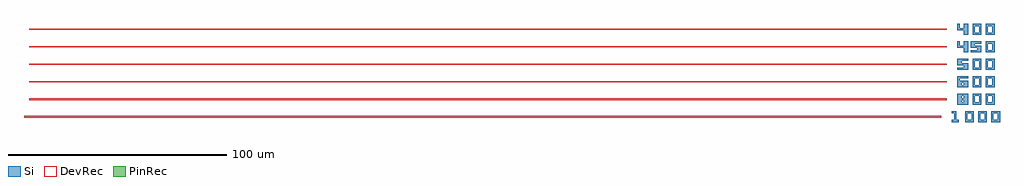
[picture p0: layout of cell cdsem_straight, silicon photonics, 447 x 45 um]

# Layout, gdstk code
import gdstk
lib = gdstk.Library(unit=1e-6, precision=1e-09)
def R(c, l, rs):  # rectangles x0, y0, x1, y1
    for r in rs: c.add(gdstk.rectangle(r[:2], r[2:], *l))
def A(c, l, x, y, w, h, nx, ny, dx, dy):  # array of equal rectangles
    R(c, l, [(x+i*dx, y+j*dy, x+i*dx+w, y+j*dy+h) for i in range(nx) for j in range(ny)])
Si = (1, 0)
PinRec = (1, 10)
DevRec = (68, 0)

text_rectangular_size1_t = lib.new_cell('text_rectangular_size1_text400')
A(text_rectangular_size1_t, Si, 7, 0, 1, 1, 4, 2, 1, 4)
A(text_rectangular_size1_t, Si, 13, 0, 1, 1, 4, 2, 1, 4)
A(text_rectangular_size1_t, Si, 4, 1, 1, 1, 5, 2, 3, 2)
A(text_rectangular_size1_t, Si, 0, 2, 1, 1, 5, 1, 1, 0)
A(text_rectangular_size1_t, Si, 7, 2, 1, 1, 4, 1, 3, 0)
R(text_rectangular_size1_t, Si, [(3,0,4,1), (4,0,5,1), (3,1,4,2), (0,3,1,4), (3,3,4,4), (0,4,1,5), (3,4,4,5), (4,4,5,5)])

unnamed_57ab81e8 = lib.new_cell('Unnamed_57ab81e8')
R(unnamed_57ab81e8, Si, [(0,-0.2,420,0.2)])
R(unnamed_57ab81e8, DevRec, [(0,-0.2,420,0.2)])
unnamed_57ab81e8.add(gdstk.FlexPath([(0.001,0),(-0.001,0)], 0.4, ends="flush", simple_path=True, layer=1, datatype=10))  # PinRec
unnamed_57ab81e8.add(gdstk.FlexPath([(419.999,0),(420.001,0)], 0.4, ends="flush", simple_path=True, layer=1, datatype=10))  # PinRec
unnamed_57ab81e8.add(gdstk.Reference(text_rectangular_size1_t, (425.001,-2.5)))
unnamed_57ab81e8.add(gdstk.Label('o1', (0,0), layer=1, texttype=10))
unnamed_57ab81e8.add(gdstk.Label('o2', (420,0), layer=1, texttype=10))

c_text_rectangular_size1_t = lib.new_cell('text_rectangular_size1_text450')
A(c_text_rectangular_size1_t, Si, 6, 0, 1, 1, 5, 3, 1, 2)
A(c_text_rectangular_size1_t, Si, 13, 0, 1, 1, 4, 2, 1, 4)
A(c_text_rectangular_size1_t, Si, 10, 1, 1, 1, 3, 1, 3, 0)
A(c_text_rectangular_size1_t, Si, 0, 2, 1, 1, 5, 1, 1, 0)
R(c_text_rectangular_size1_t, Si, [(3,0,4,1), (4,0,5,1), (3,1,4,2), (4,1,5,2), (9,1,10,2), (13,2,14,3), (16,2,17,3), (0,3,1,4), (3,3,4,4), (4,3,5,4), (6,3,7,4), (7,3,8,4), (13,3,14,4), (16,3,17,4), (0,4,1,5), (3,4,4,5), (4,4,5,5)])

unnamed_e222f7f9 = lib.new_cell('Unnamed_e222f7f9')
R(unnamed_e222f7f9, Si, [(0,-0.225,420,0.225)])
R(unnamed_e222f7f9, DevRec, [(0,-0.225,420,0.225)])
unnamed_e222f7f9.add(gdstk.FlexPath([(0.001,0),(-0.001,0)], 0.45, ends="flush", simple_path=True, layer=1, datatype=10))  # PinRec
unnamed_e222f7f9.add(gdstk.FlexPath([(419.999,0),(420.001,0)], 0.45, ends="flush", simple_path=True, layer=1, datatype=10))  # PinRec
unnamed_e222f7f9.add(gdstk.Reference(c_text_rectangular_size1_t, (425.001,-2.5)))
unnamed_e222f7f9.add(gdstk.Label('o1', (0,0), layer=1, texttype=10))
unnamed_e222f7f9.add(gdstk.Label('o2', (420,0), layer=1, texttype=10))

c_text_rectangular_size1_t_ = lib.new_cell('text_rectangular_size1_text500')
A(c_text_rectangular_size1_t_, Si, 0, 0, 1, 1, 5, 3, 1, 2)
A(c_text_rectangular_size1_t_, Si, 7, 0, 1, 1, 4, 2, 1, 4)
A(c_text_rectangular_size1_t_, Si, 13, 0, 1, 1, 4, 2, 1, 4)
A(c_text_rectangular_size1_t_, Si, 4, 1, 1, 1, 5, 1, 3, 0)
A(c_text_rectangular_size1_t_, Si, 7, 2, 1, 1, 4, 2, 3, 1)
R(c_text_rectangular_size1_t_, Si, [(3,1,4,2), (0,3,1,4), (1,3,2,4)])

unnamed_eb8e3c26 = lib.new_cell('Unnamed_eb8e3c26')
R(unnamed_eb8e3c26, Si, [(0,-0.25,420,0.25)])
R(unnamed_eb8e3c26, DevRec, [(0,-0.25,420,0.25)])
unnamed_eb8e3c26.add(gdstk.FlexPath([(0.001,0),(-0.001,0)], 0.5, ends="flush", simple_path=True, layer=1, datatype=10))  # PinRec
unnamed_eb8e3c26.add(gdstk.FlexPath([(419.999,0),(420.001,0)], 0.5, ends="flush", simple_path=True, layer=1, datatype=10))  # PinRec
unnamed_eb8e3c26.add(gdstk.Reference(c_text_rectangular_size1_t_, (425.001,-2.5)))
unnamed_eb8e3c26.add(gdstk.Label('o1', (0,0), layer=1, texttype=10))
unnamed_eb8e3c26.add(gdstk.Label('o2', (420,0), layer=1, texttype=10))

c_text_rectangular_size1_t__ = lib.new_cell('text_rectangular_size1_text600')
A(c_text_rectangular_size1_t__, Si, 0, 0, 1, 1, 5, 3, 1, 2)
A(c_text_rectangular_size1_t__, Si, 7, 0, 1, 1, 4, 2, 1, 4)
A(c_text_rectangular_size1_t__, Si, 13, 0, 1, 1, 4, 2, 1, 4)
A(c_text_rectangular_size1_t__, Si, 4, 1, 1, 1, 5, 1, 3, 0)
A(c_text_rectangular_size1_t__, Si, 7, 2, 1, 1, 4, 2, 3, 1)
R(c_text_rectangular_size1_t__, Si, [(0,1,1,2), (1,1,2,2), (3,1,4,2), (0,3,1,4)])

unnamed_2983be8b = lib.new_cell('Unnamed_2983be8b')
R(unnamed_2983be8b, Si, [(0,-0.3,420,0.3)])
R(unnamed_2983be8b, DevRec, [(0,-0.3,420,0.3)])
unnamed_2983be8b.add(gdstk.FlexPath([(0.001,0),(-0.001,0)], 0.6, ends="flush", simple_path=True, layer=1, datatype=10))  # PinRec
unnamed_2983be8b.add(gdstk.FlexPath([(419.999,0),(420.001,0)], 0.6, ends="flush", simple_path=True, layer=1, datatype=10))  # PinRec
unnamed_2983be8b.add(gdstk.Reference(c_text_rectangular_size1_t__, (425.001,-2.5)))
unnamed_2983be8b.add(gdstk.Label('o1', (0,0), layer=1, texttype=10))
unnamed_2983be8b.add(gdstk.Label('o2', (420,0), layer=1, texttype=10))

c_text_rectangular_size1_t___ = lib.new_cell('text_rectangular_size1_text800')
A(c_text_rectangular_size1_t___, Si, 0, 0, 1, 1, 5, 3, 1, 2)
A(c_text_rectangular_size1_t___, Si, 7, 0, 1, 1, 4, 2, 1, 4)
A(c_text_rectangular_size1_t___, Si, 13, 0, 1, 1, 4, 2, 1, 4)
A(c_text_rectangular_size1_t___, Si, 4, 1, 1, 1, 5, 2, 3, 2)
A(c_text_rectangular_size1_t___, Si, 7, 2, 1, 1, 4, 1, 3, 0)
R(c_text_rectangular_size1_t___, Si, [(0,1,1,2), (1,1,2,2), (3,1,4,2), (0,3,1,4), (1,3,2,4), (3,3,4,4)])

unnamed_163fd73d = lib.new_cell('Unnamed_163fd73d')
R(unnamed_163fd73d, Si, [(0,-0.4,420,0.4)])
R(unnamed_163fd73d, DevRec, [(0,-0.4,420,0.4)])
unnamed_163fd73d.add(gdstk.FlexPath([(0.001,0),(-0.001,0)], 0.8, ends="flush", simple_path=True, layer=1, datatype=10))  # PinRec
unnamed_163fd73d.add(gdstk.FlexPath([(419.999,0),(420.001,0)], 0.8, ends="flush", simple_path=True, layer=1, datatype=10))  # PinRec
unnamed_163fd73d.add(gdstk.Reference(c_text_rectangular_size1_t___, (425.001,-2.5)))
unnamed_163fd73d.add(gdstk.Label('o1', (0,0), layer=1, texttype=10))
unnamed_163fd73d.add(gdstk.Label('o2', (420,0), layer=1, texttype=10))

c_text_rectangular_size1_t____ = lib.new_cell('text_rectangular_size1_text1000')
A(c_text_rectangular_size1_t____, Si, 1, 0, 1, 1, 3, 1, 1, 0)
A(c_text_rectangular_size1_t____, Si, 7, 0, 1, 1, 4, 2, 1, 4)
A(c_text_rectangular_size1_t____, Si, 13, 0, 1, 1, 4, 2, 1, 4)
A(c_text_rectangular_size1_t____, Si, 19, 0, 1, 1, 4, 2, 1, 4)
A(c_text_rectangular_size1_t____, Si, 2, 1, 1, 1, 1, 4, 0, 1)
A(c_text_rectangular_size1_t____, Si, 7, 1, 1, 1, 6, 3, 3, 1)
R(c_text_rectangular_size1_t____, Si, [(1,4,2,5)])

unnamed_b9b699fb = lib.new_cell('Unnamed_b9b699fb')
R(unnamed_b9b699fb, Si, [(0,-0.5,420,0.5)])
R(unnamed_b9b699fb, DevRec, [(0,-0.5,420,0.5)])
unnamed_b9b699fb.add(gdstk.FlexPath([(0.001,0),(-0.001,0)], 1, ends="flush", simple_path=True, layer=1, datatype=10))  # PinRec
unnamed_b9b699fb.add(gdstk.FlexPath([(419.999,0),(420.001,0)], 1, ends="flush", simple_path=True, layer=1, datatype=10))  # PinRec
unnamed_b9b699fb.add(gdstk.Reference(c_text_rectangular_size1_t____, (424.001,-2.5)))
unnamed_b9b699fb.add(gdstk.Label('o1', (0,0), layer=1, texttype=10))
unnamed_b9b699fb.add(gdstk.Label('o2', (420,0), layer=1, texttype=10))

cdsem_straight = lib.new_cell('cdsem_straight')
cdsem_straight.add(gdstk.Reference(unnamed_57ab81e8, (2.5,40)))
cdsem_straight.add(gdstk.Reference(unnamed_e222f7f9, (2.5,32)))
cdsem_straight.add(gdstk.Reference(unnamed_eb8e3c26, (2.5,24)))
cdsem_straight.add(gdstk.Reference(unnamed_2983be8b, (2.5,16)))
cdsem_straight.add(gdstk.Reference(unnamed_163fd73d, (2.5,8)))
cdsem_straight.add(gdstk.Reference(unnamed_b9b699fb, (0,0)))

lib.write_gds('cdsem_straight.gds')
